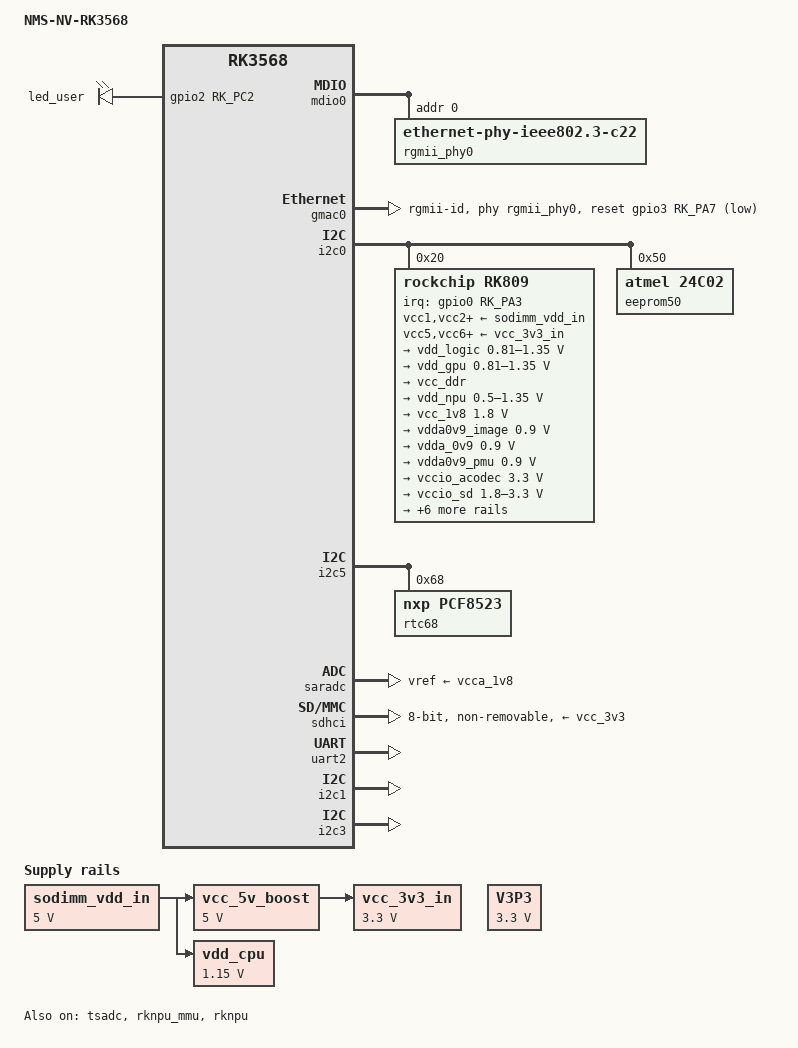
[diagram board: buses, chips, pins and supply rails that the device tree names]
// SPDX-License-Identifier: (GPL-2.0+ OR MIT)

/dts-v1/;
#include <dt-bindings/gpio/gpio.h>
#include <dt-bindings/leds/common.h>
#include <dt-bindings/pinctrl/rockchip.h>
#include <dt-bindings/soc/rockchip,vop2.h>
#include "rk3568.dtsi"

/ {
	model = "NMS-NV-RK3568";
	compatible = "inmys,rk3568-nv-som", "rockchip,rk3568";

	aliases {
		ethernet0 = &gmac0;
		mmc0 = &sdhci; /*emmc*/
		mmc1 = &sdmmc0; /*sdcard*/
		rtc0 = &rtc68;
		rtc1 = &rk809;
		can0 = &can1;
	};

	chosen: chosen {
		stdout-path = "serial2:1500000n8";
	};

	leds {
		compatible = "gpio-leds";

		led_user: led_user {
			gpios = <&gpio2 RK_PC2 GPIO_ACTIVE_HIGH>;
			linux,default-trigger = "heartbeat";
		};
		
	};

	sodimm_vdd_in: sodimm-vdd-in {
		/* 3.0...5.25V main power input for som(from mother board) */
		compatible = "regulator-fixed";
		regulator-name = "SODIMM_VDD_IN";
		regulator-always-on;
		regulator-boot-on;
		regulator-min-microvolt = <5000000>;
		regulator-max-microvolt = <5000000>;
	};
	V3P3: SMARC_CARRIER_PWR_ON {
		/* enable 3v3 main power on mother board, by pmic pin "EXT_EN" */
		/* CARRIER_PWR_ON->S154->CARRIER_PWR_ON */
		compatible = "regulator-fixed";
		regulator-name = "SMARC_CARRIER_PWR_ON";
		regulator-min-microvolt = <3300000>;
		regulator-max-microvolt = <3300000>;
		regulator-boot-on;
	};
	vcc_5v_boost: vcc-5v-boost {
		/* boost from SODIMM VDD_IN( 3.0V ... 5.25V) to 5V */
		/* variants: 0R or FAN48623UC50X */
		compatible = "regulator-fixed";
		regulator-name = "VCC_5V_BOOST";
		regulator-always-on;
		regulator-boot-on;
		regulator-min-microvolt = <5000000>;
		regulator-max-microvolt = <5000000>;
		vin-supply = <&sodimm_vdd_in>;
	};
	vcc_3v3_in: vcc-3v3-in {
		/* 3v3 input for pmic (for LDOs)*/
		/* NCP1597BMNTWG (5V->3v3) on som*/
		compatible = "regulator-fixed";
		regulator-name = "VCC_3V3_IN";
		regulator-always-on;
		regulator-boot-on;
		regulator-min-microvolt = <3300000>;
		regulator-max-microvolt = <3300000>;
		vin-supply = <&vcc_5v_boost>;
	};

	vdd_cpu: vdd-cpu {
		/* FAN53200UC35X */
		vin-supply = <&sodimm_vdd_in>;
		compatible = "regulator-fixed";
		regulator-name = "vdd_cpu";
		regulator-min-microvolt = <1150000>;
		regulator-max-microvolt = <1150000>;
		regulator-boot-on;
		regulator-always-on;
	};
	
};

&cpu0 {
	cpu-supply = <&vdd_cpu>;
};

&cpu1 {
	cpu-supply = <&vdd_cpu>;
};

&cpu2 {
	cpu-supply = <&vdd_cpu>;
};

&cpu3 {
	cpu-supply = <&vdd_cpu>;
};


&mdio0 {
	rgmii_phy0: phy@0 {
		compatible = "ethernet-phy-ieee802.3-c22";
		reg = <0x0>;
#if 0
		reset-assert-us = <20000>;
		reset-deassert-us = <100000>;
		reset-gpios = <&gpio3 RK_PA7 GPIO_ACTIVE_LOW>;
#endif

	};
};

&gmac0 {
	phy-mode = "rgmii-id";

#if 1
	snps,reset-gpio = <&gpio3 RK_PA7 GPIO_ACTIVE_LOW>;
	snps,reset-active-low;
	/* Reset time is 20ms, 100ms for rtl8211f */
	/* Reset time is 10ms for DAP8211R(I) */
	snps,reset-delays-us = <0 20000 100000>;
#endif

	clock_in_out = "output";
	assigned-clocks = <&cru SCLK_GMAC0_RX_TX>, <&cru SCLK_GMAC0>;
	assigned-clock-parents = <&cru SCLK_GMAC0_RGMII_SPEED>, <&cru CLK_MAC0_2TOP>;
	assigned-clock-rates = <0>, <125000000>;
	pinctrl-names = "default";
	pinctrl-0 = <&gmac0_miim
		&gmac0_tx_bus2
		&gmac0_rx_bus2
		&gmac0_rgmii_clk
		&gmac0_rgmii_bus>;

	tx_delay = <0x3c>;
	rx_delay = <0x2f>;

	phy-handle = <&rgmii_phy0>;
};

	
&gpu {
	mali-supply = <&vdd_gpu>;
};

&hdmi {
	avdd-0v9-supply = <&vdda0v9_image>;
	avdd-1v8-supply = <&vcca1v8_image>;
	pinctrl-0 = <&hdmitx_scl &hdmitx_sda &hdmitxm1_cec>;
};

&i2c0 {
	status = "okay";
#if 0
	vdd_cpu: regulator@1c {
		compatible = "tcs,tcs4525";
		reg = <0x1c>;
		fcs,suspend-voltage-selector = <1>;
		regulator-name = "vdd_cpu";
		regulator-always-on;
		regulator-boot-on;
		regulator-min-microvolt = <800000>;
		regulator-max-microvolt = <1150000>;
		regulator-ramp-delay = <2300>;
		vin-supply = <&vcc5v0_sys>;

		regulator-state-mem {
			regulator-off-in-suspend;
		};
	};
#endif

	rk809: pmic@20 {
		compatible = "rockchip,rk809";
		reg = <0x20>;
		interrupt-parent = <&gpio0>;
		interrupts = <RK_PA3 IRQ_TYPE_LEVEL_LOW>;
		assigned-clocks = <&cru I2S1_MCLKOUT_TX>;
		assigned-clock-parents = <&cru CLK_I2S1_8CH_TX>;
		#clock-cells = <1>;
		clock-names = "mclk";
		clocks = <&cru I2S1_MCLKOUT_TX>;
		pinctrl-names = "default";
		pinctrl-0 = <&pmic_int &i2s1m0_mclk>;
		rockchip,system-power-controller;
		#sound-dai-cells = <0>;
		vcc1-supply = <&sodimm_vdd_in>;
		vcc2-supply = <&sodimm_vdd_in>;
		vcc3-supply = <&sodimm_vdd_in>;
		vcc4-supply = <&sodimm_vdd_in>;
		vcc5-supply = <&vcc_3v3_in>;
		vcc6-supply = <&vcc_3v3_in>;
		vcc7-supply = <&vcc_3v3_in>;
		vcc8-supply = <&vcc_3v3_in>;
		vcc9-supply = <&vcc_3v3_in>;
		wakeup-source;

		regulators {
			vdd_logic: DCDC_REG1 {
				regulator-name = "vdd_logic";
				regulator-always-on;
				regulator-boot-on;
				regulator-init-microvolt = <900000>;
				regulator-initial-mode = <0x2>;
				regulator-min-microvolt =  <810000>;
				regulator-max-microvolt = <1350000>;
				regulator-ramp-delay = <6001>;

				regulator-state-mem {
					regulator-off-in-suspend;
				};
			};

			vdd_gpu: DCDC_REG2 {
				regulator-name = "vdd_gpu";
				regulator-always-on;
				regulator-init-microvolt = <900000>;
				regulator-initial-mode = <0x2>;
				regulator-min-microvolt =  <810000>;
				regulator-max-microvolt = <1350000>;
				regulator-ramp-delay = <6001>;

				regulator-state-mem {
					regulator-off-in-suspend;
				};
			};

			vcc_ddr: DCDC_REG3 {
				regulator-name = "vcc_ddr";
				regulator-always-on;
				regulator-boot-on;
				regulator-initial-mode = <0x2>;

				regulator-state-mem {
					regulator-on-in-suspend;
				};
			};

			vdd_npu: DCDC_REG4 {
				regulator-always-on;
				/*regulator-boot-on;*/

				regulator-name = "vdd_npu";
				regulator-init-microvolt = <900000>;
				regulator-initial-mode = <0x2>;
				regulator-min-microvolt =  <500000>;
				regulator-max-microvolt = <1350000>;
				regulator-ramp-delay = <6001>;

				regulator-state-mem {
					regulator-off-in-suspend;
				};
			};

			vcc_1v8: DCDC_REG5 {
				regulator-name = "vcc_1v8";
				regulator-always-on;
				regulator-boot-on;
				regulator-min-microvolt = <1800000>;
				regulator-max-microvolt = <1800000>;

				regulator-state-mem {
					regulator-on-in-suspend;
				};
			};

			vdda0v9_image: LDO_REG1 {
				regulator-name = "vdda0v9_image";
				regulator-min-microvolt = <900000>;
				regulator-max-microvolt = <900000>;

				regulator-state-mem {
					regulator-off-in-suspend;
				};
			};

			vdda_0v9: LDO_REG2 {
				regulator-name = "vdda_0v9";
				regulator-always-on;
				regulator-boot-on;
				regulator-min-microvolt = <900000>;
				regulator-max-microvolt = <900000>;

				regulator-state-mem {
					regulator-off-in-suspend;
				};
			};

			vdda0v9_pmu: LDO_REG3 {
				regulator-name = "vdda0v9_pmu";
				regulator-always-on;
				regulator-boot-on;
				regulator-min-microvolt = <900000>;
				regulator-max-microvolt = <900000>;

				regulator-state-mem {
					regulator-on-in-suspend;
					regulator-suspend-microvolt = <900000>;
				};
			};

			vccio_acodec: LDO_REG4 {
				regulator-name = "vccio_acodec";
				regulator-always-on;
				regulator-min-microvolt = <3300000>;
				regulator-max-microvolt = <3300000>;

				regulator-state-mem {
					regulator-off-in-suspend;
				};
			};

			vccio_sd: LDO_REG5 {
				regulator-name = "vccio_sd";
				regulator-min-microvolt = <1800000>;
				regulator-max-microvolt = <3300000>;

				regulator-state-mem {
					regulator-off-in-suspend;
				};
			};

			vcc3v3_pmu: LDO_REG6 {
				regulator-name = "vcc3v3_pmu";
				regulator-always-on;
				regulator-boot-on;
				regulator-min-microvolt = <3300000>;
				regulator-max-microvolt = <3300000>;

				regulator-state-mem {
					regulator-on-in-suspend;
					regulator-suspend-microvolt = <3300000>;
				};
			};

			vcca_1v8: LDO_REG7 {
				regulator-name = "vcca_1v8";
				regulator-always-on;
				regulator-boot-on;
				regulator-min-microvolt = <1800000>;
				regulator-max-microvolt = <1800000>;

				regulator-state-mem {
					regulator-off-in-suspend;
				};
			};

			vcca1v8_pmu: LDO_REG8 {
				regulator-name = "vcca1v8_pmu";
				regulator-always-on;
				regulator-boot-on;
				regulator-min-microvolt = <1800000>;
				regulator-max-microvolt = <1800000>;

				regulator-state-mem {
					regulator-on-in-suspend;
					regulator-suspend-microvolt = <1800000>;
				};
			};

			vcca1v8_image: LDO_REG9 {
				regulator-name = "vcca1v8_image";
				regulator-min-microvolt = <1800000>;
				regulator-max-microvolt = <1800000>;

				regulator-state-mem {
					regulator-off-in-suspend;
				};
			};

			vcc_3v3: SWITCH_REG1 {
				regulator-name = "vcc_3v3";
				regulator-always-on;
				regulator-boot-on;

				regulator-state-mem {
					regulator-off-in-suspend;
				};
			};

			vcc3v3_sd: SWITCH_REG2 {
				regulator-name = "vcc3v3_sd";

				regulator-state-mem {
					regulator-off-in-suspend;
				};
			};
		};

		codec {
			mic-in-differential;
		};
	};
	eeprom50: eeprom@50 {
		compatible = "atmel,24c02";
		reg = <0x50>;
	};

};

I2C1_SODIMM_PINS_189_191: &i2c5 {
	status = "okay";

	rtc68: pcf8523@68 {
		compatible = "nxp,pcf8523";
		reg = <0x68>;
		quartz-load-femtofarads = <12500>;
		/*rtcint GPIO0_D4*/
	};
};


&i2s1_8ch { /* SODIMM pins: 220,222,224,226*/
	pinctrl-names = "default";
	pinctrl-0 = <&i2s1m0_sclktx &i2s1m0_lrcktx &i2s1m0_sdi0 &i2s1m0_sdo0>;
	rockchip,trcm-sync-tx-only;
	status = "disabled";
};

&pcie2x1 {
	reset-gpios = <&gpio3 RK_PC1 GPIO_ACTIVE_HIGH>;
	vpcie3v3-supply = <&V3P3>;
	status = "disabled";
};


&pcie30phy {
	status = "disabled";
};

&pcie3x2 {
	reset-gpios = <&gpio3 RK_PA1 GPIO_ACTIVE_HIGH>;
	vpcie3v3-supply = <&V3P3>;
	status = "disabled";
};


&pinctrl {
	pmic {
		pmic_int: pmic_int {
			rockchip,pins =
				<0 RK_PA3 RK_FUNC_GPIO &pcfg_pull_up>;
		};
	};
};

&pmu_io_domains {
	pmuio1-supply = <&vcc3v3_pmu>;
	pmuio2-supply = <&vcc_1v8>;
	vccio1-supply = <&vcc_1v8>;
	vccio2-supply = <&vcc_1v8>;
	vccio3-supply = <&vccio_sd>;
	vccio4-supply = <&vcc_1v8>;
	vccio5-supply = <&vcc_3v3>;
	vccio6-supply = <&vcc_1v8>;
	vccio7-supply = <&vcc_1v8>;
	status = "okay";
};

&saradc {
	vref-supply = <&vcca_1v8>;
	status = "okay";
};

/*emmc on som*/
&sdhci {
	bus-width = <8>;
	max-frequency = <160000000>;
	non-removable;
	pinctrl-names = "default";
	pinctrl-0 = <&emmc_bus8 &emmc_clk &emmc_cmd &emmc_datastrobe>;
	vmmc-supply = <&vcc_3v3>;
	vqmmc-supply = <&vcc_1v8>;
	status = "okay";
};

/* has no sdcard in device, but has in evm board: rm? */
&sdmmc0 {
	bus-width = <4>;
	cap-sd-highspeed;
	broken-cd;
	disable-wp;
	pinctrl-names = "default";
	pinctrl-0 = <&sdmmc0_bus4 &sdmmc0_clk &sdmmc0_cmd>;
	sd-uhs-sdr50;
	vmmc-supply = <&vcc3v3_sd>;
	vqmmc-supply = <&vccio_sd>;
	status = "disabled";
};

&tsadc {
	rockchip,hw-tshut-mode = <1>;
	rockchip,hw-tshut-polarity = <0>;
	status = "okay";
};

/* SODIMM pins 236,238 (console) */
&uart2 {
	status = "okay";
};

&vop {
	assigned-clocks = <&cru DCLK_VOP0>, <&cru DCLK_VOP1>;
	assigned-clock-parents = <&pmucru PLL_HPLL>, <&cru PLL_VPLL>;
	status = "disabled";
};

&vop_mmu {
	status = "disabled";
};

/* SMARC: SATA1 */
&sata1 {
	/* enable sata1_actled */
	pinctrl-names = "default";
	pinctrl-0 = <&sata1_pins>;
};

CAM_I2C_SODIMM_PINS_213_215: &i2c1 {
	status = "okay";
};

I2C0_SODIMM_PINS_185_187: &i2c3 {
	pinctrl-0 = <&i2c3m1_xfer>;
	status = "okay";
};

/* SMARC: I2C_CAM0*/
&i2c4 {
	pinctrl-0 = <&i2c4m0_xfer>;
};

/**/
&uart1{
	pinctrl-names = "default";
	pinctrl-0 = <&uart1m1_xfer>;
};

/* SMARC: SER2 */
&uart4 {
	pinctrl-names = "default";
	pinctrl-0 = <&uart4m1_xfer>;
};

/* SMARC: SER3 */
&uart5 {
	pinctrl-names = "default";
	pinctrl-0 = <&uart5m1_xfer>;
};

/* SMARC: SER0 */
&uart8 {
	pinctrl-names = "default";
	pinctrl-0 = <&uart8m0_xfer &uart8m0_ctsn &uart8m0_rtsn>;
};

&spi0 {
	pinctrl-0 = <&spi0m0_cs0 &spi0m0_pins>;
	pinctrl-0 = <&spi0m0_cs0_hs &spi0m0_pins_hs>;
};

&gpio0 {
	gpio-line-names =
		"GPIO0_A0","GPIO0_A1","GPIO0_A2","GPIO0_A3","GPIO0_A4","GPIO0_A5","GPIO0_A6","GPIO0_A7",
		"GPIO0_B0","GPIO0_B1","GPIO0_B2","GPIO0_B3","GPIO0_B4","GPIO0_B5","GPIO0_B6","GPIO0_B7",
		"GPIO0_C0","GPIO0_C1","GPIO0_C2","GPIO0_C3","GPIO0_C4","GPIO0_C5","GPIO0_C6","GPIO0_C7",
		"GPIO0_D0","GPIO0_D1","GPIO0_D2","GPIO0_D3","GPIO0_D4","GPIO0_D5","GPIO0_D6","GPIO0_D7";
};

&gpio1 {
	gpio-line-names =
		"GPIO1_A0","GPIO1_A1","GPIO1_A2","GPIO1_A3","GPIO1_A4","GPIO1_A5","GPIO1_A6","GPIO1_A7",
		"GPIO1_B0","GPIO1_B1","GPIO1_B2","GPIO1_B3","GPIO1_B4","GPIO1_B5","GPIO1_B6","GPIO1_B7",
		"GPIO1_C0","GPIO1_C1","GPIO1_C2","GPIO1_C3","GPIO1_C4","GPIO1_C5","GPIO1_C6","GPIO1_C7",
		"GPIO1_D0","GPIO1_D1","SMARC_GPIO10","GPIO1_D3","SMARC_GPIO11","GPIO1_D5","GPIO1_D6","GPIO1_D7";
};

&gpio2 {
	gpio-line-names =
		"GPIO2_A0","GPIO2_A1","GPIO2_A2","GPIO2_A3","GPIO2_A4","GPIO2_A5","GPIO2_A6","GPIO2_A7",
		"GPIO2_B0","GPIO2_B1","GPIO2_B2","GPIO2_B3","GPIO2_B4","GPIO2_B5","GPIO2_B6","GPIO2_B7",
		"GPIO2_C0","GPIO2_C1","GPIO2_C2","GPIO2_C3","GPIO2_C4","GPIO2_C5","GPIO2_C6","GPIO2_C7",
		"GPIO2_D0","GPIO2_D1","GPIO2_D2","GPIO2_D3","GPIO2_D4","GPIO2_D5","GPIO2_D6","GPIO2_D7";
};

&gpio3 {
	gpio-line-names =
		"GPIO3_A0","GPIO3_A1","GPIO3_A2","GPIO3_A3","GPIO3_A4","GPIO3_A5","GPIO3_A6","GPIO3_A7",
		"GPIO3_B0","GPIO3_B1","GPIO3_B2","GPIO3_B3","GPIO3_B4","GPIO3_B5","GPIO3_B6","GPIO3_B7",
		"GPIO3_C0","GPIO3_C1","GPIO3_C2","GPIO3_C3","GPIO3_C4","GPIO3_C5","GPIO3_C6","GPIO3_C7",
		"GPIO3_D0","GPIO3_D1", "SMARC_GPIO3",  "SMARC_GPIO1",  "SMARC_GPIO2",  "SMARC_GPIO0","GPIO3_D6","GPIO3_D7";
};

&gpio4 {
	gpio-line-names =
		"GPIO4_A0","GPIO4_A1","GPIO4_A2","GPIO4_A3","GPIO4_A4","GPIO4_A5","GPIO4_A6","GPIO4_A7",
		"GPIO4_B0","GPIO4_B1","GPIO4_B2","GPIO4_B3","GPIO4_B4","GPIO4_B5","GPIO4_B6","GPIO4_B7",
		"GPIO4_C0","GPIO4_C1","GPIO4_C2","GPIO4_C3","GPIO4_C4","GPIO4_C5","GPIO4_C6","GPIO4_C7",
		"GPIO4_D0","GPIO4_D1","GPIO4_D2","GPIO4_D3","GPIO4_D4","GPIO4_D5","GPIO4_D6","GPIO4_D7";
};



/*2023.06.12: no CAN in mainline kernel now*/
/ {
	can1: can@fe580000 {
		compatible = "rockchip,canfd-1.0";
		reg = <0x0 0xfe580000 0x0 0x1000>;
		interrupts = <GIC_SPI 1 IRQ_TYPE_LEVEL_HIGH>;
		clocks = <&cru CLK_CAN1>, <&cru PCLK_CAN1>;
		clock-names = "baudclk", "apb_pclk";
		resets = <&cru SRST_CAN1>, <&cru SRST_P_CAN1>;
		reset-names = "can", "can-apb";
		tx-fifo-depth = <1>;
		rx-fifo-depth = <6>;
		status = "disabled";

		pinctrl-names = "default";
		pinctrl-0 = <&can1m0_pins>;
	};
};

/* 2024.04.14 no rknpu in mainline kernel now */

&power{
	/* These power domains are grouped by VD_NPU */
	power-domain@RK3568_PD_NPU {
		reg = <RK3568_PD_NPU>;
		clocks = <&cru ACLK_NPU_PRE>,
			<&cru HCLK_NPU_PRE>,
			<&cru PCLK_NPU_PRE>;
		pm_qos = <&qos_npu>;
	};
};
/{
	rknpu_mmu: iommu@fde4b000 {
		compatible = "rockchip,rk3568-iommu";
		reg = <0x0 0xfde4b000 0x0 0x40>;
		interrupts = <GIC_SPI 151 IRQ_TYPE_LEVEL_HIGH>;
		interrupt-names = "rknpu_mmu";
		clocks = <&cru ACLK_NPU>, <&cru HCLK_NPU>;
		clock-names = "aclk", "iface";
		power-domains = <&power RK3568_PD_NPU>;
		#iommu-cells = <0>;
		//status = "disabled";
		status = "okay";
	};

	rknpu: npu@fde40000 {
		compatible = "rockchip,rk3568-rknpu", "rockchip,rknpu";
		reg = <0x0 0xfde40000 0x0 0xb000>;
		interrupts = <GIC_SPI 151 IRQ_TYPE_LEVEL_HIGH>;
		interrupt-names = "npu_irq";
		clocks = <&scmi_clk 2>, <&cru CLK_NPU>, <&cru ACLK_NPU>, <&cru HCLK_NPU>;
		clock-names = "scmi_clk", "clk", "aclk", "hclk";
		assigned-clocks = <&cru CLK_NPU>;
		assigned-clock-rates = <600000000>;
		resets = <&cru SRST_A_NPU>, <&cru SRST_H_NPU>;
		reset-names = "srst_a", "srst_h";
		power-domains = <&power RK3568_PD_NPU>;
		operating-points-v2 = <&npu_opp_table>;
		iommus = <&rknpu_mmu>;
		//status = "disabled";
		status = "okay";

		rknpu-supply = <&vdd_npu>;
		//mem-supply = <&>;
	};

	npu_opp_table: npu-opp-table {
		compatible = "operating-points-v2";

		mbist-vmin = <825000 900000 950000>;
#if 0
		nvmem-cells = <&npu_leakage>, <&core_pvtm>, <&mbist_vmin>, <&npu_opp_info>;
		nvmem-cell-names = "leakage", "pvtm", "mbist-vmin", "opp-info";
#endif
		rockchip,max-volt = <1000000>;
		rockchip,temp-hysteresis = <5000>;
		rockchip,low-temp = <0>;
		rockchip,low-temp-adjust-volt = <
			/* MHz    MHz    uV */
			   0      1000    50000
		>;
		rockchip,pvtm-voltage-sel = <
			0        84000   0
			84001    87000   1
			87001    91000   2
			91001    100000  3
		>;
		rockchip,pvtm-ch = <0 5>;
		opp-200000000 {
			opp-hz = /bits/ 64 <200000000>;
			opp-microvolt = <850000 850000 1000000>;
		};
		opp-300000000 {
			opp-hz = /bits/ 64 <297000000>;
			opp-microvolt = <850000 850000 1000000>;
		};
		opp-400000000 {
			opp-hz = /bits/ 64 <400000000>;
			opp-microvolt = <850000 850000 1000000>;
		};
		opp-600000000 {
			opp-hz = /bits/ 64 <600000000>;
			opp-microvolt = <850000 850000 1000000>;
		};
		opp-700000000 {
			opp-hz = /bits/ 64 <700000000>;
			opp-microvolt = <875000 875000 1000000>;
			opp-microvolt-L0 = <875000 875000 1000000>;
			opp-microvolt-L1 = <850000 850000 1000000>;
			opp-microvolt-L2 = <850000 850000 1000000>;
			opp-microvolt-L3 = <850000 850000 1000000>;
		};
		opp-800000000 {
			opp-hz = /bits/ 64 <800000000>;
			opp-microvolt = <925000 925000 1000000>;
			opp-microvolt-L0 = <925000 925000 1000000>;
			opp-microvolt-L1 = <900000 900000 1000000>;
			opp-microvolt-L2 = <875000 875000 1000000>;
			opp-microvolt-L3 = <875000 875000 1000000>;
		};
		opp-900000000 {
			opp-hz = /bits/ 64 <900000000>;
			opp-microvolt = <975000 975000 1000000>;
			opp-microvolt-L0 = <975000 975000 1000000>;
			opp-microvolt-L1 = <950000 950000 1000000>;
			opp-microvolt-L2 = <925000 925000 1000000>;
			opp-microvolt-L3 = <900000 900000 1000000>;
		};
		opp-1000000000 {
			opp-hz = /bits/ 64 <1000000000>;
			opp-microvolt = <1000000 1000000 1000000>;
			opp-microvolt-L0 = <1000000 1000000 1000000>;
			opp-microvolt-L1 = <975000 975000 1000000>;
			opp-microvolt-L2 = <950000 950000 1000000>;
			opp-microvolt-L3 = <925000 925000 1000000>;
			status = "disabled";
		};
	};
};

